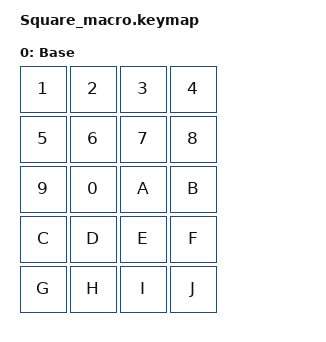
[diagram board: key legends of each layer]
// Square_macro.keymap
#include <behaviors.dtsi>
#include <dt-bindings/zmk/keys.h>

/ {
    keymap {
        compatible = "zmk,keymap";

        default_layer {
            label = "Base";
            bindings = <
                &kp N1    &kp N2    &kp N3    &kp N4    // Row 0
                &kp N5    &kp N6    &kp N7    &kp N8    // Row 1
                &kp N9    &kp N0    &kp A     &kp B     // Row 2
                &kp C     &kp D     &kp E     &kp F     // Row 3
                &kp G     &kp H     &kp I     &kp J     // Row 4
            >;
        };
    };
};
